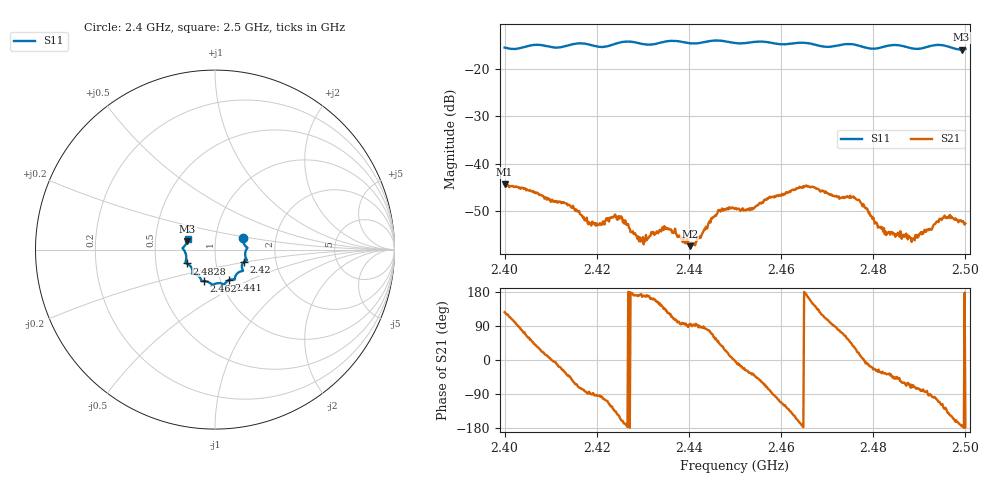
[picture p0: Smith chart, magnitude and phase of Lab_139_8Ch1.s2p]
# Hz S RI R 50
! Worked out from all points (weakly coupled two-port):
!   601 points, 2.4 GHz to 2.5 GHz, reference 50 ohm
!   highest |S21| = -44.42 dB at 2.4 GHz (marker M1); lowest = -57.5 dB at 2.4402 GHz (marker M2)
!   lowest |S11| = -15.8 dB at 2.4992 GHz (marker M3), VSWR 1.38, Z = 36.5 + j3.65 ohm
!   |S11| at or under -10 dB: start of sweep to end of sweep
!   S12 and S22 are empty: the file has one direction only
!   S11 on the Smith chart (normalised r, x): 2.4 GHz: 1.36, +0.18; 2.42 GHz: 1.36, -0.19; 2.441 GHz: 1.10, -0.39; 2.462 GHz: 0.84, -0.30; 2.4828 GHz: 0.72, -0.12; 2.5 GHz: 0.73, +0.09
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2.4e9  0.1572 0.063  -0.00355 0.00485  0 0  0 0
2.413e9  0.1697 -0.0393  0.00327 -0.00201  0 0  0 0
2.416667e9  0.1778 -0.06  0.000672 -0.00276  0 0  0 0
2.42e9  0.1594 -0.0693  -0.000118 -0.00232  0 0  0 0
2.425e9  0.1549 -0.1131  -0.00231 -0.00121  0 0  0 0
2.43e9  0.1364 -0.1241  -0.00163 0.000336  0 0  0 0
2.433333e9  0.1123 -0.1509  -0.00162 0.000843  0 0  0 0
2.435167e9  0.1105 -0.1635  -0.00131 0.00156  0 0  0 0
2.440167e9  0.0871 -0.1669  -0.000126 0.00133  0 0  0 0
2.441e9  0.0788 -0.1697  -8.81e-05 0.00143  0 0  0 0
2.446667e9  0.0494 -0.1946  0.00235 0.00217  0 0  0 0
2.45e9  0.0287 -0.187  0.00331 -0.000156  0 0  0 0
2.453833e9  -0.00579 -0.1934  0.00266 -0.00191  0 0  0 0
2.462e9  -0.0603 -0.1754  -0.00357 -0.0035  0 0  0 0
2.466667e9  -0.0777 -0.1682  -0.00501 0.00265  0 0  0 0
2.4765e9  -0.1258 -0.1278  0.00385 0.0015  0 0  0 0
2.482833e9  -0.1576 -0.0774  0.00139 -0.00106  0 0  0 0
2.483333e9  -0.1606 -0.0762  0.0015 -0.00114  0 0  0 0
2.4885e9  -0.1598 -0.0434  0.000505 -0.00152  0 0  0 0
2.495e9  -0.1792 0.0109  -0.00116 -0.00237  0 0  0 0
2.499167e9  -0.1539 0.0486  -0.00242 -0.00022  0 0  0 0
2.5e9  -0.1515 0.061  -0.00232 -8.73e-05  0 0  0 0
